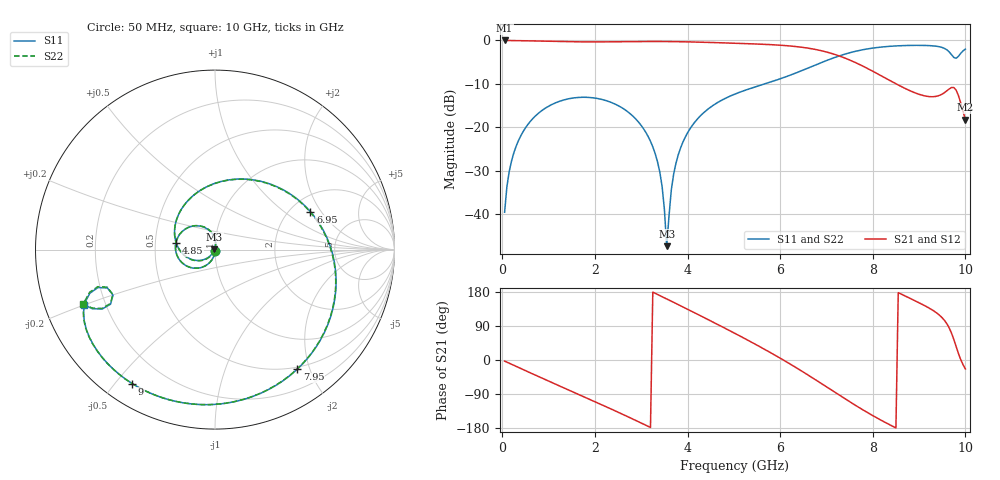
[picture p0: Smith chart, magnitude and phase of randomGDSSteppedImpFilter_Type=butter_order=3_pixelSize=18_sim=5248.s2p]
! freq	dB(S11)	phase(S11)	dB(S12)	phase(S12)
!  dB(S21)	phase(S21)	dB(S22)	phase(S22)
!S-par simulation data
#  GHz  S  DB  R 50
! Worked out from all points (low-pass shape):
!   200 points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, 50 MHz to 10 GHz, reference 50 ohm
!   highest |S21| = -0.01 dB at 50 MHz (marker M1); lowest = -18.3 dB at 10 GHz (marker M2)
!   |S21| within 3 dB of the highest: start of sweep to 7.113 GHz
!   lowest |S11| = -47.4 dB at 3.55 GHz (marker M3), VSWR 1.01, Z = 49.6 + j0.236 ohm
!   |S11| at or under -10 dB: start of sweep to 5.674 GHz
!   |S22| runs from -51.2 to -1.1 dB; largest |S21 - S12| = 0
!   S11 on the Smith chart (normalised r, x): 50 MHz: 1.00, -0.02; 4.85 GHz: 0.64, +0.05; 6.95 GHz: 2.54, +1.60; 7.95 GHz: 0.47, -1.81; 9 GHz: 0.09, -0.56; 10 GHz: 0.12, -0.20
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0.05  -39.60 -92.6  -0.01 -2.9  -0.01 -2.9  -39.60 -92.6
0.2  -27.77 -101.4  -0.02 -11.3  -0.02 -11.3  -27.77 -101.4
0.5  -20.17 -118.5  -0.08 -28.1  -0.08 -28.1  -20.17 -118.6
1.75  -13.10 173.1  -0.33 -96.4  -0.33 -96.4  -13.10 172.9
2.85  -17.76 112.8  -0.27 -157.6  -0.27 -157.6  -17.77 111.9
3.4  -30.29 85.6  -0.25 170.1  -0.25 170.1  -30.33 81.0
3.5  -38.88 91.4  -0.25 164.2  -0.25 164.2  -39.26 78.4
3.55  -47.44 146.0  -0.26 161.2  -0.26 161.2  -51.21 134.3
3.65  -34.44 -125.9  -0.27 155.1  -0.27 155.1  -34.58 -118.4
3.85  -24.78 -131.0  -0.30 143.0  -0.30 143.0  -24.80 -128.5
4.85  -13.18 170.0  -0.59 81.3  -0.59 81.3  -13.18 170.4
5.05  -12.25 157.4  -0.66 68.6  -0.66 68.6  -12.26 157.7
5.95  -9.03 97.3  -1.07 8.4  -1.07 8.4  -9.03 97.0
6.7  -5.94 41.5  -1.95 -47.2  -1.95 -47.2  -5.94 40.9
6.95  -4.85 21.7  -2.53 -66.8  -2.53 -66.8  -4.85 21.1
7.45  -3.00 -18.0  -4.28 -106.2  -4.28 -106.2  -3.00 -18.6
7.95  -1.84 -55.4  -6.82 -143.3  -6.82 -143.3  -1.84 -56.0
8.35  -1.37 -82.5  -9.13 -169.9  -9.13 -169.9  -1.37 -83.0
9  -1.13 -121.7  -12.42 151.0  -12.42 151.0  -1.13 -122.1
9.5  -1.63 -151.6  -12.37 111.3  -12.37 111.3  -1.63 -152.0
9.75  -3.92 -160.4  -10.87 54.3  -10.87 54.3  -3.94 -160.8
10  -2.01 -157.2  -18.29 -23.6  -18.29 -23.6  -2.01 -157.5
